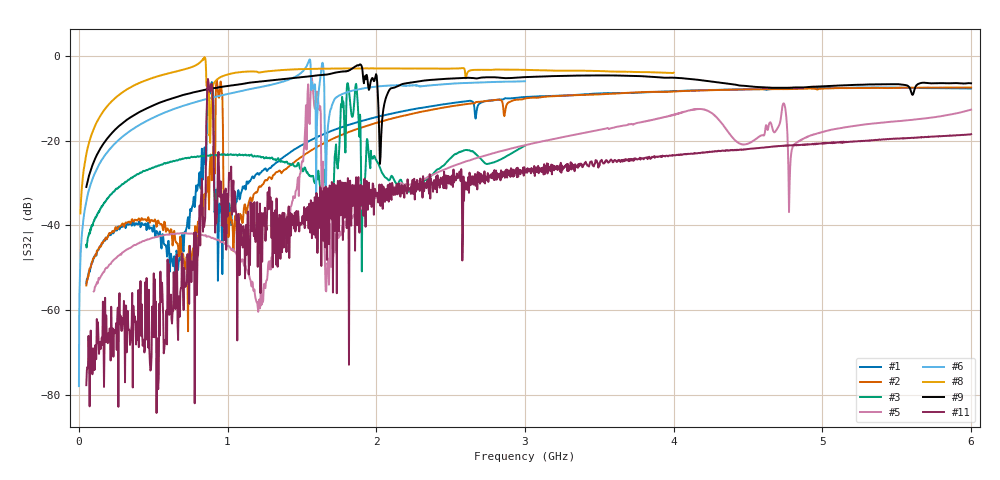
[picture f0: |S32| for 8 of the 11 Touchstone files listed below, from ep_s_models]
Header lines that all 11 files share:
! Matrix data file written by TouchstoneData, EPCOS AG
! INFO: nport=3, nfreq=1601
! port | pin | signal
# MHZ S MA R 50
! freq  magS11 angS11  magS12 angS12  magS13 angS13  ...
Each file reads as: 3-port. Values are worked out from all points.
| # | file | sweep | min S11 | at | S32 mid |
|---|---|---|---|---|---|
| 1 | B3514_LB_WB.s3p | 50 MHz to 6 GHz | -21.2 dB | 875.6 MHz | -9.7 dB at 3.025 GHz |
| 2 | B3514_UB_WB.s3p | 50 MHz to 6 GHz | -19.3 dB | 935.1 MHz | -10.0 dB at 3.025 GHz |
| 3 | B3515_LB_WB.s3p | 50 MHz to 3 GHz | -20.3 dB | 1.798 GHz | -26.8 dB at 1.525 GHz |
| 4 | B3515_UB_WB.s3p | 50 MHz to 3 GHz | -17.2 dB | 1.923 GHz | -25.1 dB at 1.525 GHz |
| 5 | B3517_WB.s3p | 100 MHz to 6 GHz | -20.7 dB | 1.605 GHz | -20.7 dB at 3.05 GHz |
| 6 | B3525_WB.s3p | 300 kHz to 3 GHz | -24.1 dB | 1.568 GHz | -3.8 dB at 1.5 GHz |
| 7 | B3528_WB.s3p | 100 MHz to 6 GHz | -32.7 dB | 1.568 GHz | -7.7 dB at 3.05 GHz |
| 8 | B3903_WB.s3p | 10 MHz to 4 GHz | -16.6 dB | 870.3 MHz | -3.0 dB at 2.005 GHz |
| 9 | B4154_WB.s3p | 50 MHz to 6 GHz | -32.1 dB | 5.16 GHz | -5.0 dB at 3.025 GHz |
| 10 | B4302_WB.s3p | 50 MHz to 6 GHz | -18.7 dB | 2.121 GHz | -28.1 dB at 3.025 GHz |
| 11 | B4303_WB.s3p | 50 MHz to 6 GHz | -24.4 dB | 864.4 MHz | -27.1 dB at 3.025 GHz |
